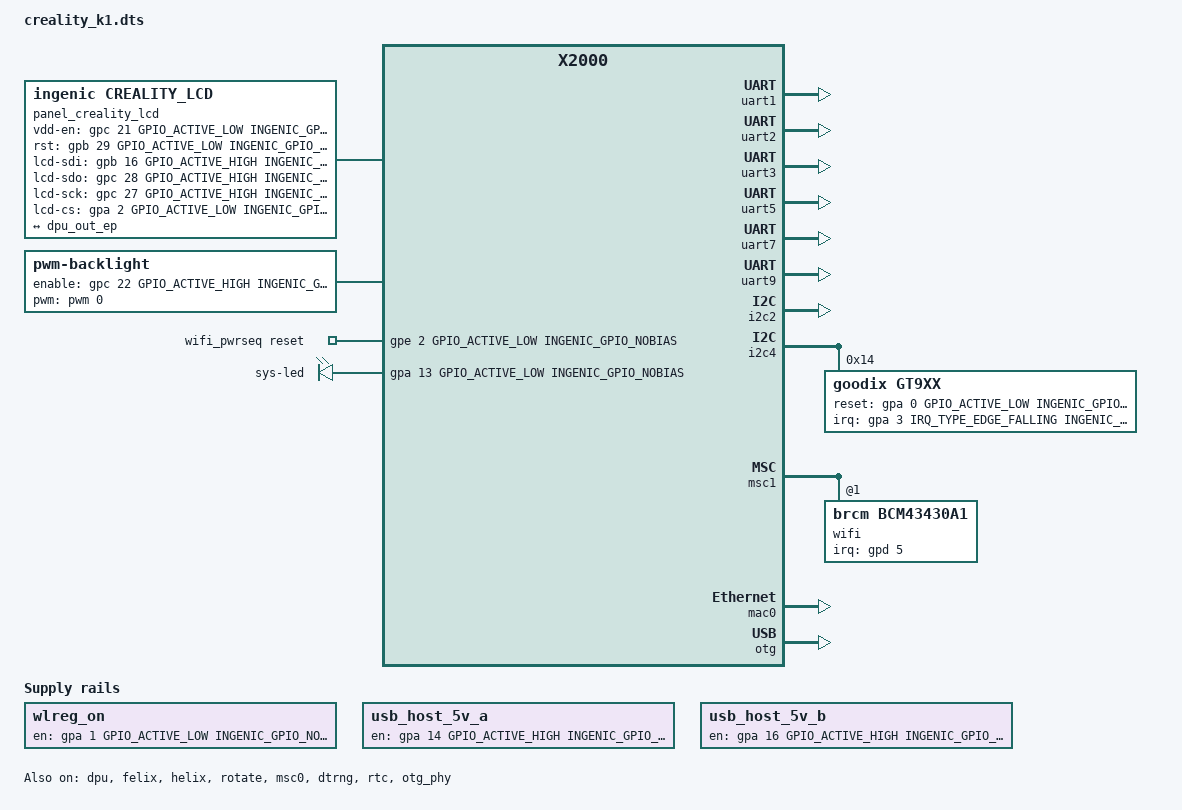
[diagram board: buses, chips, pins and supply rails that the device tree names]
/dts-v1/;

/*
 * Creality K1 family control board (CR4CU220812S10/S11/S12): K1, K1C, K1 SE, K1 Max.
 *
 * Board nodes from k1-debian/linux (master-k1, commit 043f9fc7, Pavel Sorejs, GPL-2.0).
 * SoC choices follow the NebulaOS openke tree, which is qualified on the same X2000.
 * Every value below was checked against the stock K1C device tree (/sys/firmware/fdt) and
 * the stock module parameters (OpenKreality docs/hardware/k1c.md, 2026-10-26). Changes
 * from k1-debian:
 *   - pinctrl bank voltages taken from stock: port A 3.3V, port E (MSC) 1.8V. k1-debian
 *     had both inverted (Ingenic default), the same mistake NebulaOS fixed on the KE.
 *   - UARTs stay on the Ingenic vendor driver (x2000.dtsi "ingenic,8250-uart"), as in
 *     NebulaOS, instead of mainline "ingenic,x1000-uart" + refclk. uart1 uses a 2-pin
 *     group (gpc 23-24), like stock: the SDK uart1_pc group also claims gpc 21, which is
 *     the LCD VDD enable on this board.
 *   - helix (H.264/JPEG encoder), felix (H.264 decoder) and the rotator are enabled.
 *     Their pool is reusable (CMA) so the memory returns to the system while the codecs
 *     are idle. Stock pins 36MB (0x5000000, 0x2400000) for the same purpose.
 */

#include <dt-bindings/input/input.h>
#include "x2000.dtsi"
#include <dt-bindings/interrupt-controller/irq.h>
#include <generated/autoconf.h>

/ {
	compatible = "ingenic,crealityk1", "ingenic,x2000";

	aliases: aliases {
		serial1 = &uart1;	/* nozzle_mcu, /dev/ttyS1 */
		serial2 = &uart2;	/* console, /dev/ttyS2 */
		serial3 = &uart3;
		serial5 = &uart5;
		serial7 = &uart7;	/* mainboard mcu, /dev/ttyS7 */
		serial9 = &uart9;	/* leveling_mcu, /dev/ttyS9 */
	};

	reserved-memory {
		#address-cells = <1>;
		#size-cells = <1>;
		ranges = <>;

		/* DPU framebuffers and the video codecs. 16MB to start with; size it on
		 * hardware once the timelapse encoder runs on helix. */
		reserved_memory: reserved_mem@f000000 {
			compatible = "shared-dma-pool";
			reusable;
			reg-64M = <0x03000000 0x1000000>;
			reg-128M = <0x07000000 0x1000000>;
			reg-256M = <0x0f000000 0x1000000>;
		};
	};

	display-dbi {
		compatible = "simple-bus";
		#interrupt-cells = <1>;
		#address-cells = <1>;
		#size-cells = <1>;
		ranges = <>;
		panel_creality_lcd {
			compatible = "ingenic,creality_lcd";
			status = "okay";
			pinctrl-names = "default";
			pinctrl-0 = <&tft_lcd_pb_rgb565>;

			/* stock: lcd_st7701_9bit_spi_pj_480_800 gpio_lcd_power_en=PC21,
			 * gpio_lcd_rst=PB29, sdo=PB16, sda=PC28, scl=PC27, cs=PA02 */
			ingenic,vdd-en-gpios = <&gpc 21 GPIO_ACTIVE_LOW INGENIC_GPIO_NOBIAS>;
			ingenic,rst-gpios = <&gpb 29 GPIO_ACTIVE_LOW INGENIC_GPIO_NOBIAS>;
			ingenic,lcd-sdi-gpios = <&gpb 16 GPIO_ACTIVE_HIGH INGENIC_GPIO_NOBIAS>;
			ingenic,lcd-sdo-gpios = <&gpc 28 GPIO_ACTIVE_HIGH INGENIC_GPIO_NOBIAS>;
			ingenic,lcd-sck-gpios = <&gpc 27 GPIO_ACTIVE_HIGH INGENIC_GPIO_NOBIAS>;
			ingenic,lcd-cs-gpios = <&gpa 2 GPIO_ACTIVE_LOW INGENIC_GPIO_NOBIAS>;

			port {
				panel_creality_lcd_ep: endpoint {
					remote-endpoint = <&dpu_out_ep>;
				};
			};
		};
	};

	/* stock: pwm_backlight pwm_gpio=PC00 pwm_freq=50000 power_gpio=PC22 (active high) */
	backlight {
		compatible = "pwm-backlight";
		pinctrl-names = "default";
		pinctrl-0 = <&pwm0_pc>;
		pwms = <&pwm 0 20000>; /* arg1: pwm channel id [0~15]. arg2: period in ns. */
		brightness-levels = <0 1 2 3 4 5 6 7 8 9 10 11 12 13 14 15>;
		default-brightness-level = <10>;
		enable-gpios = <&gpc 22 GPIO_ACTIVE_HIGH INGENIC_GPIO_NOBIAS>;
	};

	/* stock: cywdhd gpio_bt_wifi_power=PA01 (valid level 0), gpio_wlan_reg_on=PE02 */
	wlreg_on: wlreg-on {
		compatible = "regulator-fixed";
		regulator-name = "wlreg_on";
		gpio = <&gpa 1 GPIO_ACTIVE_LOW INGENIC_GPIO_NOBIAS>;
		enable-active-low;
		regulator-always-on;
		regulator-boot-on;
	};

	wifi_pwrseq: wifi-pwrseq {
		compatible = "mmc-pwrseq-simple";
		reset-gpios = <&gpe 2 GPIO_ACTIVE_LOW INGENIC_GPIO_NOBIAS>;
		post-power-on-delay-ms = <200>;
		power-off-delay-ms = <5>;
	};

	usb_host_5v_a: usb-host-5v-a {
		compatible = "regulator-fixed";
		regulator-name = "usb_host_5v_a";
		gpio = <&gpa 14 GPIO_ACTIVE_HIGH INGENIC_GPIO_NOBIAS>;
		enable-active-high;
		regulator-always-on;
		regulator-boot-on;
	};

	usb_host_5v_b: usb-host-5v-b {
		compatible = "regulator-fixed";
		regulator-name = "usb_host_5v_b";
		gpio = <&gpa 16 GPIO_ACTIVE_HIGH INGENIC_GPIO_NOBIAS>;
		enable-active-high;
		regulator-always-on;
		regulator-boot-on;
	};

	leds {
		compatible = "gpio-leds";
		status = "okay";

		sys_led {
			label = "sys-led";
			gpios = <&gpa 13 GPIO_ACTIVE_LOW INGENIC_GPIO_NOBIAS>;
			linux,default-trigger = "heartbeat";
			default-state = "off";
			panic-indicator;
		};
	};
};

&dpu {
	status = "okay";
	ingenic,disable-rdma-fb = <1>;
	ingenic,layer-exported  = <1 0 0 0>;
	ingenic,layer-frames    = <2 2 2 2>;
	ingenic,layer-framesize = <480 800>, <480 800>, <480 800>, <480 800>;   //Max framesize for each layer.
	layer,color_mode        = <0 0 0 0>;                                    //src fmt,
	layer,src-size          = <480 800>, <480 800>, <480 800>, <480 800>;   //Layer src size should smaller than framesize
	layer,target-size       = <480 800>, <480 800>, <480 800>, <480 800>;   //Target Size should smaller than src_size.
	layer,target-pos        = <0 0>, <0 0>, <0 0>, <0 0>;                   //target pos , the start point of the target panel.
	layer,enable            = <1 0 0 0>;                                    //layer enabled or disabled.
	ingenic,logo-pan-layer  = <0>;                                          //on which layer should init logo pan on.
	memory-region=<&reserved_memory>;
	port {
		dpu_out_ep: endpoint {
			remote-endpoint = <&panel_creality_lcd_ep>;
		};
	};
};

/* Pin groups below match the stock K1C pinctrl assignment (uart1-pc 23-24, uart2-pd
 * 30-31, uart3-pd 0-3, uart5-pa 4-5, uart7-pa 8-9, uart9-pb 30-31). uart0-pd would
 * conflict with msc0_8bit (gpd 17-26) and is unused on stock. */
&uart0 {
	status = "disable";
};

&uart1_pin {
	uart1_pc_txrx: uart1-pc-txrx {
		ingenic,pinmux = <&gpc 23 24>;
		ingenic,pinmux-funcsel = <PINCTL_FUNCTION1>;
	};
};

&uart1 {
	status = "okay";
	pinctrl-names = "default";
	pinctrl-0 = <&uart1_pc_txrx>;
};

&uart2 {
	status = "okay";
	pinctrl-names = "default";
	pinctrl-0 = <&uart2_pd>;
};

&uart3 {
	status = "okay";
	pinctrl-names = "default";
	pinctrl-0 = <&uart3_pd>;
};

&uart5 {
	status = "okay";
	pinctrl-names = "default";
	pinctrl-0 = <&uart5_pa>;
};

&uart7 {
	status = "okay";
	pinctrl-names = "default";
	pinctrl-0 = <&uart7_pa>;
};

&uart9 {
	status = "okay";
	pinctrl-names = "default";
	pinctrl-0 = <&uart9_pb>;
};

&cpufreq {
	status = "okay";
	operating-points = <
		/*KHZ uV */
		1200000	900000
		750000	900000
		600000	900000
		500000	900000
		400000	900000
		375000	900000
		300000	900000
		200000	900000
			>;

};

&pinctrl {
	/* stock K1C: ingenic,gpa_voltage = <0x02>, ingenic,gpe_msc_voltage = <0x01> */
	ingenic,gpa_voltage = <GPIO_VOLTAGE_3V3>;
	ingenic,gpe_msc_voltage = <GPIO_VOLTAGE_1V8>;

	touchscreen_pins:touchscreen-pins {
		touchscreen_int_out_high:touchscreen-int-out-high {
			ingenic,pinmux = <&gpa 3 3>;
			ingenic,pinmux-funcsel = <PINCTL_FUNCHILVL>;
		};
		touchscreen_int_out_low:touchscreen-int-out-low {
			ingenic,pinmux = <&gpa 3 3>;
			ingenic,pinmux-funcsel = <PINCTL_FUNCLOLVL>;
		};
		touchscreen_int_input:touchscreen-int-input {
			ingenic,pinmux = <&gpa 3 3>;
			ingenic,pinmux-funcsel = <PINCTL_FUNCINPUT_FE>;
		};
		touchscreen_default:touchscreen-default {
			ingenic,pinmux = <&gpa 3 3>;
			ingenic,pinmux-funcsel = <PINCTL_FUNCINPUT>;
		};
	};
};

/* stock: soc_i2c i2c2 PB22/PB23 400kHz, bl24c16f EEPROM used by Klipper (mcu rpi, i2c.2) */
&i2c2 {
	status = "okay";
	pinctrl-names = "default";
	pinctrl-0 = <&i2c2_pb>;
};

/* stock: soc_i2c i2c4 PC25/PC26 400kHz; gt9xx_touch irq=PA03 reset=PA00, 480x800.
 * Some panel lots use a TLSC6x at 0x2e on the same pins instead (stock loads both
 * drivers); not covered yet. */
&i2c4 {
	status = "okay";
	pinctrl-names = "default";
	pinctrl-0 = <&i2c4_pc>;

	goodix@14 {
		compatible = "goodix,gt9xx"; /* do not modify */
		reg = <0x14>; /* do not modify */
		reset-gpios = <&gpa 0 GPIO_ACTIVE_LOW INGENIC_GPIO_NOBIAS>; /* RST pin */
		irq-gpios = <&gpa 3 IRQ_TYPE_EDGE_FALLING INGENIC_GPIO_NOBIAS>; /* INT pin */
		irq-flags = <2>; /* 1 rising, 2 falling */
		goodix,driver-send-cfg = <0>;
		touchscreen-size-x = <480>;
		touchscreen-size-y = <800>;
		goodix,slide-wakeup = <0>;
		goodix,type-a-report = <0>;
		goodix,resume-in-workqueue = <0>;
		goodix,int-sync = <1>;
		goodix,swap-x2y = <0>;
		goodix,auto-update-cfg = <0>;
		goodix,power-off-sleep = <0>;
		pinctrl-names = "default", "int-output-high", "int-output-low", "int-input";
		pinctrl-0 = <&touchscreen_default>;
		pinctrl-1 = <&touchscreen_int_out_high>;
		pinctrl-2 = <&touchscreen_int_out_low>;
		pinctrl-3 = <&touchscreen_int_input>;
	};
};

&i2c3 {
	status = "disable";
};

/* Video codecs (stock: helix-venc /dev/video1, felix-vdec /dev/video2, rotate /dev/video0). */
&felix {
	status = "okay";
	memory-region = <&reserved_memory>;
};

&helix {
	status = "okay";
	memory-region = <&reserved_memory>;
};

&rotate {
	status = "okay";
	memory-region = <&reserved_memory>;
};

&mscaler0 {
	status = "disable";
};

&mscaler1 {
	status = "disable";
};

&pdma {
	status = "okay";
};

/* stock: DG4008 eMMC, HS200 */
&msc0 {
	status = "okay";
	pinctrl-names = "default";
	pinctrl-0 = <&msc0_8bit>;
	mmc-hs200-1_8v;
	cap-mmc-highspeed;
	non-removable;
	max-frequency = <100000000>;
	bus-width = <8>;
	voltage-ranges = <1800 3300>;
};

/* stock: soc_msc msc1 sdio, 4-bit, 100MHz, non-removable, keep-power-in-suspend;
 * AP6212A (02D0:A9A6), WL_HOST_WAKE PD05. Mainline brcmfmac only: the vendor out-of-tree
 * driver (cywdhd/bcmdhd) froze boards mid-print (k1-debian/images issue #10). */
&msc1 {
	status = "okay";
	pinctrl-names = "default", "enable", "disable";
	pinctrl-0 = <&msc1_4bit>;
	pinctrl-1 = <&rtc32k_enable>;
	pinctrl-2 = <&rtc32k_disable>;

	bus-width = <4>;
	non-removable;
	keep-power-in-suspend;

	max-frequency = <100000000>;
	voltage-ranges = <1800 3300>;

	mmc-pwrseq = <&wifi_pwrseq>;

	#address-cells = <1>;
	#size-cells = <0>;

	wifi@1 {
		reg = <1>;
		compatible = "brcm,bcm43430a1";

		interrupt-parent = <&gpd>;
		interrupts = <5 IRQ_TYPE_LEVEL_HIGH>;
		interrupt-names = "host-wake";

		wakeup-source;

		brcm,board-type = "AP6212";
	};
};

/* Ethernet: only the K1 Max has the port. Left enabled for the family image, as stock
 * does (soc_mac_driver is loaded on the K1C too). */
&mac0 {
	pinctrl-names = "default", "reset";
	pinctrl-0 = <&mac0_rmii_p0_normal>, <&mac0_rmii_p1_normal>, <&mac0_phy_clk>;
	pinctrl-1 = <&mac0_rmii_p0_rst>, <&mac0_rmii_p1_normal>, <&mac0_phy_clk>;
	status = "okay";
	ingenic,rst-gpio = <&gpc 5 GPIO_ACTIVE_LOW INGENIC_GPIO_NOBIAS>;
	ingenic,rst-ms = <10>;
	ingenic,rst-delay-ms = <15>;
	ingenic,mac-mode = <RMII>;
	ingenic,mode-reg = <0xb00000e4>;
	ingenic,phy-clk-freq = <50000000>;
};

&dtrng {
	status = "okay";
};

&otg {
	status = "okay";
};

&rtc {
	status = "okay";
};

&otg_phy {
	ingenic,drvvbus-gpio = <&gpa 15 GPIO_ACTIVE_HIGH INGENIC_GPIO_NOBIAS>;
	status = "okay";
};
